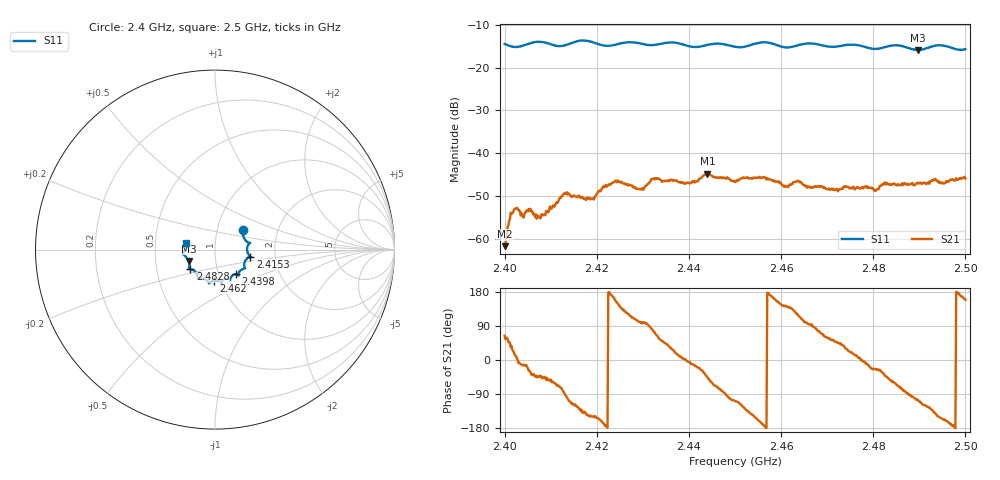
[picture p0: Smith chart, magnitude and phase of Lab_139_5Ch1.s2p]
# Hz S RI R 50
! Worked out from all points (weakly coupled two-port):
!   601 points, 2.4 GHz to 2.5 GHz, reference 50 ohm
!   highest |S21| = -44.73 dB at 2.444 GHz (marker M1); lowest = -61.7 dB at 2.4 GHz (marker M2)
!   lowest |S11| = -15.9 dB at 2.4897 GHz (marker M3), VSWR 1.38, Z = 36.9 - j4.81 ohm
!   |S11| at or under -10 dB: start of sweep to end of sweep
!   S12 and S22 are empty: the file has one direction only
!   S11 on the Smith chart (normalised r, x): 2.4 GHz: 1.33, +0.29; 2.4153 GHz: 1.48, -0.12; 2.4398 GHz: 1.21, -0.34; 2.462 GHz: 0.93, -0.33; 2.4828 GHz: 0.74, -0.17; 2.5 GHz: 0.72, +0.06
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2.4e9  0.1552 0.1067  0.000364 0.00074  0 0  0 0
2.401167e9  0.1551 0.0882  0.00121 0.0012  0 0  0 0
2.402333e9  0.1594 0.0689  0.00219 0.00045  0 0  0 0
2.4075e9  0.1962 0.0378  0.0013 -0.00123  0 0  0 0
2.413e9  0.1807 -0.0144  7.79e-05 -0.00339  0 0  0 0
2.415333e9  0.1963 -0.0387  -0.00143 -0.0028  0 0  0 0
2.416667e9  0.2024 -0.0427  -0.002 -0.00231  0 0  0 0
2.419167e9  0.1929 -0.0421  -0.00255 -0.00152  0 0  0 0
2.424167e9  0.1628 -0.0889  -0.00434 0.00202  0 0  0 0
2.429667e9  0.1567 -0.108  -0.000676 0.00375  0 0  0 0
2.433333e9  0.1307 -0.1337  0.00255 0.00441  0 0  0 0
2.439833e9  0.1153 -0.1361  0.00452 -0.000392  0 0  0 0
2.444e9  0.0853 -0.163  0.00411 -0.0041  0 0  0 0
2.45e9  0.0652 -0.1624  -0.00143 -0.00436  0 0  0 0
2.456167e9  0.0386 -0.1936  -0.00523 -0.000847  0 0  0 0
2.462e9  -0.00509 -0.1728  -0.00311 0.00292  0 0  0 0
2.466667e9  -0.0342 -0.1881  -0.000271 0.00396  0 0  0 0
2.480667e9  -0.1157 -0.1179  0.00342 -0.0016  0 0  0 0
2.482833e9  -0.1365 -0.1092  0.00315 -0.00295  0 0  0 0
2.483333e9  -0.1402 -0.1091  0.00288 -0.00327  0 0  0 0
2.489667e9  -0.147 -0.0635  -0.00121 -0.00439  0 0  0 0
2.5e9  -0.1592 0.0389  -0.00475 0.00179  0 0  0 0
